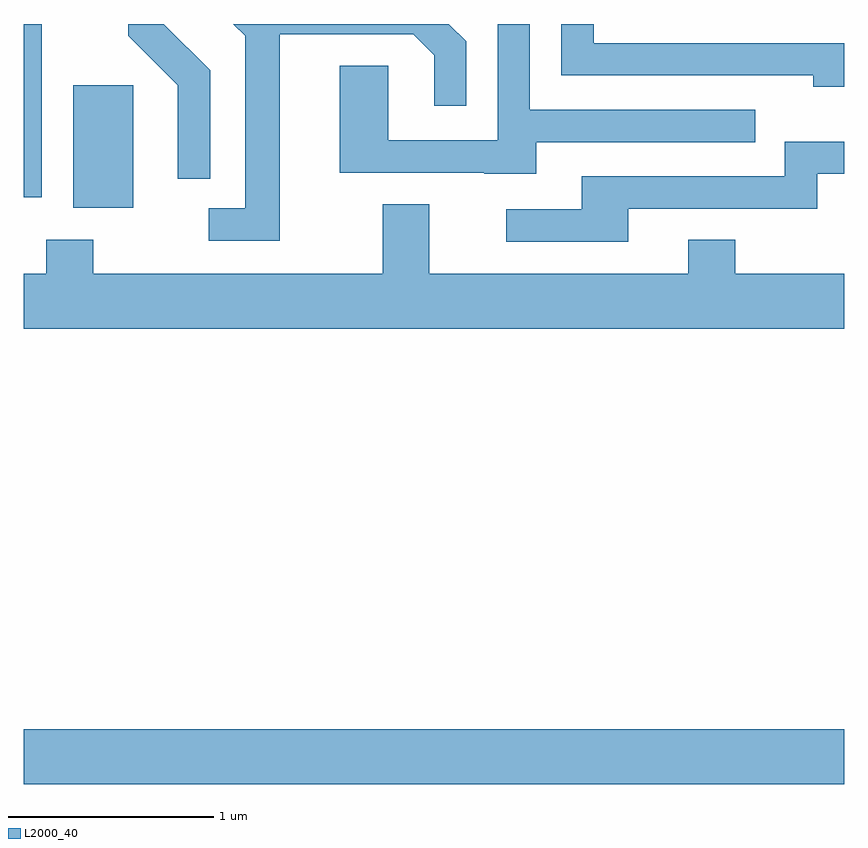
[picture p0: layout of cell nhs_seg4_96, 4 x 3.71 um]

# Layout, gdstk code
import gdstk
lib = gdstk.Library(unit=1e-6, precision=1e-09)
def R(c, l, rs):  # rectangles x0, y0, x1, y1
    for r in rs: c.add(gdstk.rectangle(r[:2], r[2:], *l))
def P(c, l, *ps):  # polygons
    for p in ps: c.add(gdstk.Polygon(p, *l))
L2000_40 = (2000, 40)

nhs_seg4_96 = lib.new_cell('nhs_seg4_96')
R(nhs_seg4_96, L2000_40, [(187.611,1310.276,191.611,1310.544), (187.851,1313.086,188.144,1313.684), (187.611,1313.136,187.699,1313.982)])
P(nhs_seg4_96, L2000_40, [(188.519,1313.757),(188.294,1313.982),(188.121,1313.982),(188.121,1313.924),(188.361,1313.684),(188.361,1313.228),(188.519,1313.228)],
  [(191.611,1313.889),(190.389,1313.889),(190.389,1313.982),(190.231,1313.982),(190.231,1313.731),(191.461,1313.731),(191.461,1313.676),(191.611,1313.676)],
  [(190.109,1313.406),(191.178,1313.406),(191.178,1313.564),(190.079,1313.564),(190.079,1313.982),(189.921,1313.982),(189.921,1313.414),(189.389,1313.414),(189.389,1313.779),(189.151,1313.779),(189.151,1313.256),(189.855,1313.256),(189.855,1313.251),(190.109,1313.251)],
  [(188.859,1313.931),(189.509,1313.931),(189.611,1313.829),(189.611,1313.583),(189.769,1313.583),(189.769,1313.897),(189.684,1313.982),(188.633,1313.982),(188.691,1313.924),(188.691,1313.084),(188.513,1313.084),(188.513,1312.926),(188.859,1312.926)],
  [(190.559,1313.081),(191.479,1313.081),(191.479,1313.251),(191.611,1313.251),(191.611,1313.409),(191.321,1313.409),(191.321,1313.239),(190.331,1313.239),(190.331,1313.079),(189.963,1313.079),(189.963,1312.921),(190.559,1312.921)],
  [(191.611,1312.764),(191.079,1312.764),(191.079,1312.929),(190.851,1312.929),(190.851,1312.764),(189.589,1312.764),(189.589,1313.104),(189.361,1313.104),(189.361,1312.764),(187.949,1312.764),(187.949,1312.929),(187.721,1312.929),(187.721,1312.764),(187.611,1312.764),(187.611,1312.496),(191.611,1312.496)])

lib.write_gds('nhs_seg4_96.gds')
